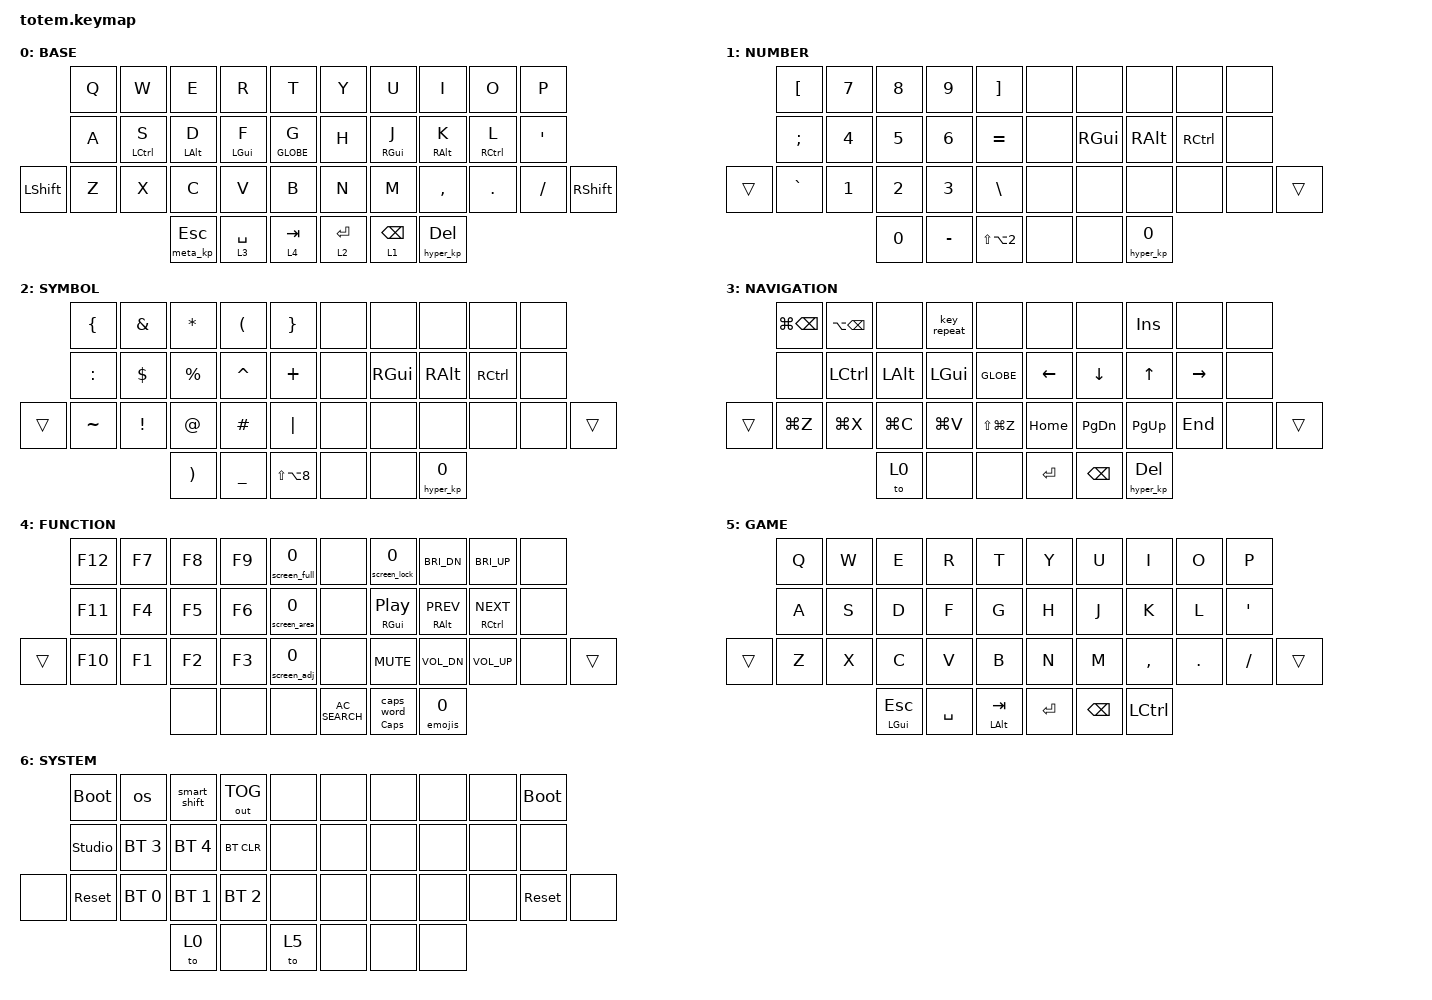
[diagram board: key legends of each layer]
/* Piantor key mappings adapted to Totem's 38-key physical layout. */

#include <behaviors.dtsi>
#include <dt-bindings/zmk/bt.h>
#include <dt-bindings/zmk/keys.h>
#include <dt-bindings/zmk/outputs.h>

&kscan0 {
    wakeup-source;
};

/ {
    behaviors {
        caps_logic: caps_logic {
            compatible = "zmk,behavior-hold-tap";
            label = "CAPS_LOGIC";
            bindings = <&kp>, <&caps_word>;

            #binding-cells = <2>;
            tapping-term-ms = <200>;
        };

        emojis: emojis {
            compatible = "zmk,behavior-smart-modifier";
            #binding-cells = <1>;
            mac-key = <LC(LG(SPACE))>;
            windows-key = <LG(PERIOD)>;
            label = "EMOJIS";
        };

        hyper_kp: hyper_kp {
            compatible = "zmk,behavior-smart-modifier";
            #binding-cells = <1>;
            mac-key = <LA(LG(LEFT_CONTROL))>;
            windows-key = <LA(LEFT_CONTROL)>;
            label = "HYPER_KP";
        };

        hyper_mt: hyper_mt {
            compatible = "zmk,behavior-hold-tap";
            #binding-cells = <2>;
            bindings = <&hyper_kp>, <&kp>;

            flavor = "hold-preferred";
            tapping-term-ms = <200>;
            label = "HYPER_MT";
        };

        meta_kp: meta_kp {
            compatible = "zmk,behavior-smart-modifier";
            #binding-cells = <1>;
            mac-key = <LG(LEFT_SHIFT)>;
            windows-key = <LC(LEFT_SHIFT)>;
            label = "META_KP";
        };

        meta_mt: meta_mt {
            compatible = "zmk,behavior-hold-tap";
            #binding-cells = <2>;
            bindings = <&meta_kp>, <&kp>;

            flavor = "hold-preferred";
            tapping-term-ms = <200>;
            label = "META_MT";
        };

        os: os {
            compatible = "zmk,behavior-os-mode";
            #binding-cells = <0>;
            label = "OS";
        };

        screen_adj: screen_adj {
            compatible = "zmk,behavior-smart-modifier";
            #binding-cells = <1>;
            mac-key = <LS(LG(N5))>;
            windows-key = <LS(LG(S))>;
            label = "Screen Adj";
        };

        screen_area: screen_area {
            compatible = "zmk,behavior-smart-modifier";
            #binding-cells = <1>;
            mac-key = <LS(LG(N4))>;
            windows-key = <LA(PRINTSCREEN)>;
            label = "Screen Area";
        };

        screen_full: screen_full {
            compatible = "zmk,behavior-smart-modifier";
            #binding-cells = <1>;
            mac-key = <LS(LG(N3))>;
            windows-key = <LG(PRINTSCREEN)>;
            label = "Screen Full";
        };

        screen_lock: screen_lock {
            compatible = "zmk,behavior-smart-modifier";
            #binding-cells = <1>;
            mac-key = <LC(LG(Q))>;
            windows-key = <LG(L)>;
            label = "SCREEN_LOCK";
        };

        smart_shift: smart_shift {
            compatible = "zmk,behavior-smart-shift";
            #binding-cells = <0>;
            label = "Toggle Smart Shift";
        };

        thrm_left: thrm_left {
            compatible = "zmk,behavior-hold-tap";
            #binding-cells = <2>;
            flavor = "balanced";
            tapping-term-ms = <280>;
            quick-tap-ms = <175>;
            require-prior-idle-ms = <150>;
            hold-trigger-key-positions = <
                5 6 7 8 9  15 16 17 18 19  26 27 28 29 30  32 33 34 35 36 37
            >;

            hold-trigger-on-release;
            bindings = <&kp>, <&kp>;

            label = "THRM_LEFT";
        };

        thrm_right: thrm_right {
            compatible = "zmk,behavior-hold-tap";
            #binding-cells = <2>;
            flavor = "balanced";
            tapping-term-ms = <280>;
            quick-tap-ms = <175>;
            require-prior-idle-ms = <150>;
            hold-trigger-key-positions = <
                0 1 2 3 4  10 11 12 13 14  21 22 23 24 25  32 33 34 35 36 37
            >;

            hold-trigger-on-release;
            bindings = <&kp>, <&kp>;

            label = "THRM_RIGHT";
        };
    };

    combos {
        compatible = "zmk,combos";

        nav_layer {
            bindings = <&tog 3>;
            key-positions = <33 35>;
            layers = <0>;
        };

        sys_layer {
            bindings = <&tog 6>;
            key-positions = <34 35>;
            layers = <0 5>;
        };
    };

    keymap {
        compatible = "zmk,keymap";

        BASE {
            label = "BASE";
            bindings = <
                &kp Q  &kp W               &kp E                  &kp R                  &kp T                 &kp Y        &kp U                    &kp I                    &kp O                &kp P
                &kp A  &thrm_left LCTRL S  &thrm_left LEFT_ALT D  &thrm_left LEFT_GUI F  &thrm_left GLOBE G    &kp H        &thrm_right RIGHT_GUI J  &thrm_right RIGHT_ALT K  &thrm_right RCTRL L  &kp APOSTROPHE
&kp LEFT_SHIFT  &kp Z  &kp X               &kp C                  &kp V                  &kp B                 &kp N        &kp M                    &kp COMMA                &kp DOT              &kp FSLH        &kp RSHIFT
                                           &meta_mt 0 ESC         &lt 3 SPACE            &lt 4 TAB             &lt 2 ENTER  &lt 1 BACKSPACE          &hyper_mt 0 DELETE
            >;
        };

        NUMBER {
            label = "NUMBER";
            bindings = <
        &kp LBKT   &kp N7  &kp N8  &kp N9     &kp RBKT          &none  &none     &none        &none      &none
        &kp SEMI   &kp N4  &kp N5  &kp N6     &kp EQUAL         &none  &kp RGUI  &kp RALT     &kp RCTRL  &none
&trans  &kp GRAVE  &kp N1  &kp N2  &kp N3     &kp BSLH          &none  &none     &none        &none      &none  &trans
                           &kp N0  &kp MINUS  &kp LS(LA(N2))    &none  &none     &hyper_kp 0
            >;
        };

        SYMBOL {
            label = "SYMBOL";
            bindings = <
        &kp LEFT_BRACE  &kp AMPERSAND    &kp ASTERISK           &kp LEFT_PARENTHESIS  &kp RIGHT_BRACE    &none  &none          &none        &none      &none
        &kp COLON       &kp DOLLAR       &kp PERCENT            &kp CARET             &kp PLUS           &none  &kp RIGHT_GUI  &kp RALT     &kp RCTRL  &none
&trans  &kp TILDE       &kp EXCLAMATION  &kp AT_SIGN            &kp HASH              &kp PIPE           &none  &none          &none        &none      &none  &trans
                                         &kp RIGHT_PARENTHESIS  &kp UNDERSCORE        &kp LS(LA(N8))     &none  &none          &hyper_kp 0
            >;
        };

        NAVIGATION {
            label = "NAVIGATION";
            bindings = <
        &kp LG(BACKSPACE)  &kp LA(BACKSPACE)  &none         &key_repeat   &none            &none       &none          &kp INS             &none      &none
        &none              &kp LCTRL          &kp LEFT_ALT  &kp LEFT_GUI  &kp GLOBE        &kp LEFT    &kp DOWN       &kp UP_ARROW        &kp RIGHT  &none
&trans  &kp LG(Z)          &kp LG(X)          &kp LG(C)     &kp LG(V)     &kp LS(LG(Z))    &kp HOME    &kp PG_DN      &kp PG_UP           &kp END    &none  &trans
                                              &to 0         &none         &none            &kp RETURN  &kp BACKSPACE  &hyper_mt 0 DELETE
            >;
        };

        FUNCTION {
            label = "FUNCTION";
            bindings = <
        &kp F12  &kp F7  &kp F8  &kp F9  &screen_full 0    &none            &screen_lock 0              &kp C_BRI_DN                  &kp C_BRI_UP              &none
        &kp F11  &kp F4  &kp F5  &kp F6  &screen_area 0    &none            &thrm_right RIGHT_GUI C_PP  &thrm_right RIGHT_ALT C_PREV  &thrm_right RCTRL C_NEXT  &none
&trans  &kp F10  &kp F1  &kp F2  &kp F3  &screen_adj 0     &none            &kp C_MUTE                  &kp C_VOL_DN                  &kp C_VOL_UP              &none  &trans
                         &none   &none   &none             &kp C_AC_SEARCH  &caps_logic CAPS 0          &emojis 0
            >;
        };

        GAMING {
            label = "GAME";
            bindings = <
        &kp Q  &kp W  &kp E             &kp R      &kp T               &kp Y      &kp U          &kp I      &kp O    &kp P
        &kp A  &kp S  &kp D             &kp F      &kp G               &kp H      &kp J          &kp K      &kp L    &kp APOS
&trans  &kp Z  &kp X  &kp C             &kp V      &kp B               &kp N      &kp M          &kp COMMA  &kp DOT  &kp FSLH  &trans
                      &mt LEFT_GUI ESC  &kp SPACE  &mt LEFT_ALT TAB    &kp ENTER  &kp BACKSPACE  &kp LCTRL
            >;
        };

        SYSTEM {
            label = "SYSTEM";
            bindings = <
       &bootloader     &os           &smart_shift  &out OUT_TOG  &none    &none  &none  &none  &none  &bootloader
       &studio_unlock  &bt BT_SEL 3  &bt BT_SEL 4  &bt BT_CLR    &none    &none  &none  &none  &none  &none
&none  &sys_reset      &bt BT_SEL 0  &bt BT_SEL 1  &bt BT_SEL 2  &none    &none  &none  &none  &none  &sys_reset   &none
                                     &to 0         &none         &to 5    &none  &none  &none
            >;
        };
    };

    conditional_layers { compatible = "zmk,conditional-layers"; };
};
